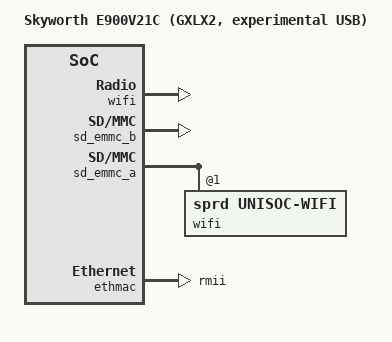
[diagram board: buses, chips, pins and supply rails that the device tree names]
// SPDX-License-Identifier: GPL-2.0-or-later
/* Experimental E900V21C 5800-2ATA411, GXLX2, 1GB. USB boot only. */
#include "gxl_p212_1g.dts"

/ {
	model = "Skyworth E900V21C (GXLX2, experimental USB)";
	/* Keep the legacy spelling used by CoreELEC's Mali-450 library selector. */
	compatible = "skyworth,e900v21c", "amlogic,gxlx2", "amlogic, Gxl";
	amlogic-dt-id = "gxlx2_p291_1g";
	coreelec-dt-id = "gxlx2_p291_1g_e900v21c";

	cpu_ver_name {
		compatible = "amlogic, cpu-major-id-gxlx2";
	};

	reserved-memory {
		/* Preserve the old Android boot firmware's fixed secure carveout.
		 * Keep CE's separate secmon CMA pool: its driver allocates 3MiB there.
		 */
		firmware_secmon@10000000 {
			reg = <0x0 0x10000000 0x0 0x00200000>;
			no-map;
		};

		/* The old boot firmware uses 0x3dc00000 for its framebuffer. */
		linux,meson-fb {
			/delete-property/ size;
			/delete-property/ alignment;
			/delete-property/ alloc-ranges;
			reg = <0x0 0x3dc00000 0x0 0x02400000>;
		};
	};

	meson-fb {
		logo_addr = "0x3dc00000";
	};

	/* Board GPIO peripherals are deliberately outside the first USB test. */
	gpioleds { status = "disabled"; };
	gpio_keypad { status = "disabled"; };
	openvfd { status = "disabled"; };
	/* P291 reference DT; old unit's Android log confirms X6/X7 and HIGH IRQ.
	 * Runtime chip 0x56630001 uses UWE5621 SDIO, not Broadcom buffers.
	 * Keep the reference 32k pinmux, without P212's unverified PWM programming.
	 */
	wifi {
		status = "okay";
		interrupt_pin = <&gpio GPIOX_7 GPIO_ACTIVE_HIGH>;
		irq_trigger_type = "GPIO_IRQ_HIGH";
		power_on_pin = <&gpio GPIOX_6 GPIO_ACTIVE_HIGH>;
		/delete-property/ dhd_static_buf;
		/delete-property/ pwm_config;
	};
	bt-dev {
		status = "okay";
		gpio_reset = <&gpio GPIOX_17 GPIO_ACTIVE_HIGH>;
		/* P291 has no dedicated host-wake GPIO. SDIO carries BT traffic. */
		/delete-property/ gpio_btwakeup;
	};
};

&usb2_phy {
	portnum = <2>;
};

&usb3_phy {
	portnum = <0>;
};

/* Keep internal eMMC untouched; enable the removable TF/SD slot. */
&sd_emmc_c { status = "disabled"; };
/* P291: CARD_0..5 bus, CARD_6 card detect, 3.3V SD high-speed. */
&sd_emmc_b { status = "okay"; };
&sd_emmc_a {
	status = "okay";
	#address-cells = <1>;
	#size-cells = <0>;
	/* Match CE's Unisoc udev rule and the sprdwl OF driver. */
	wifi@1 {
		reg = <1>;
		compatible = "sprd,unisoc-wifi";
	};
};

&amhdmitx {
	/* GXL PHY/clock profile, separate direct DWC/TOP register transport. */
	ic_type = <3>;
	amlogic,gxlx2-direct-hdmi;
};

&ethmac {
	internal_phy = <1>;
	phy-mode = "rmii";
	mc_val_internal_phy = <0x1800>;
	/* No external PHY reset or strap GPIOs on this board. */
	/delete-property/ rst_pin-gpios;
	/delete-property/ GPIOZ4_pin-gpios;
	/delete-property/ GPIOZ5_pin-gpios;
	/* Internal RMII needs no external RGMII pin mux. */
	pinctrl-names = "internal_eth_pins";
	pinctrl-0 = <>;
};

/* Original P291 Android DT exposes PP0 and PP1 only. Accessing PP2's MMU
 * at 0xd00c6004 caused a synchronous external abort on this hardware.
 */
&gpu {
	num_of_pp = <2>;
	sc_mpp = <2>;
	pmu_domain_config = <1 2 4 0 0 0 0 0 0 1 2 0>;
	interrupts = <0 160 4>, <0 161 4>, <0 162 4>, <0 163 4>,
		     <0 164 4>, <0 165 4>, <0 166 4>, <0 167 4>;
	interrupt-names = "IRQGP", "IRQGPMMU", "IRQPP", "IRQPMU",
			  "IRQPP0", "IRQPPMMU0", "IRQPP1", "IRQPPMMU1";
};
